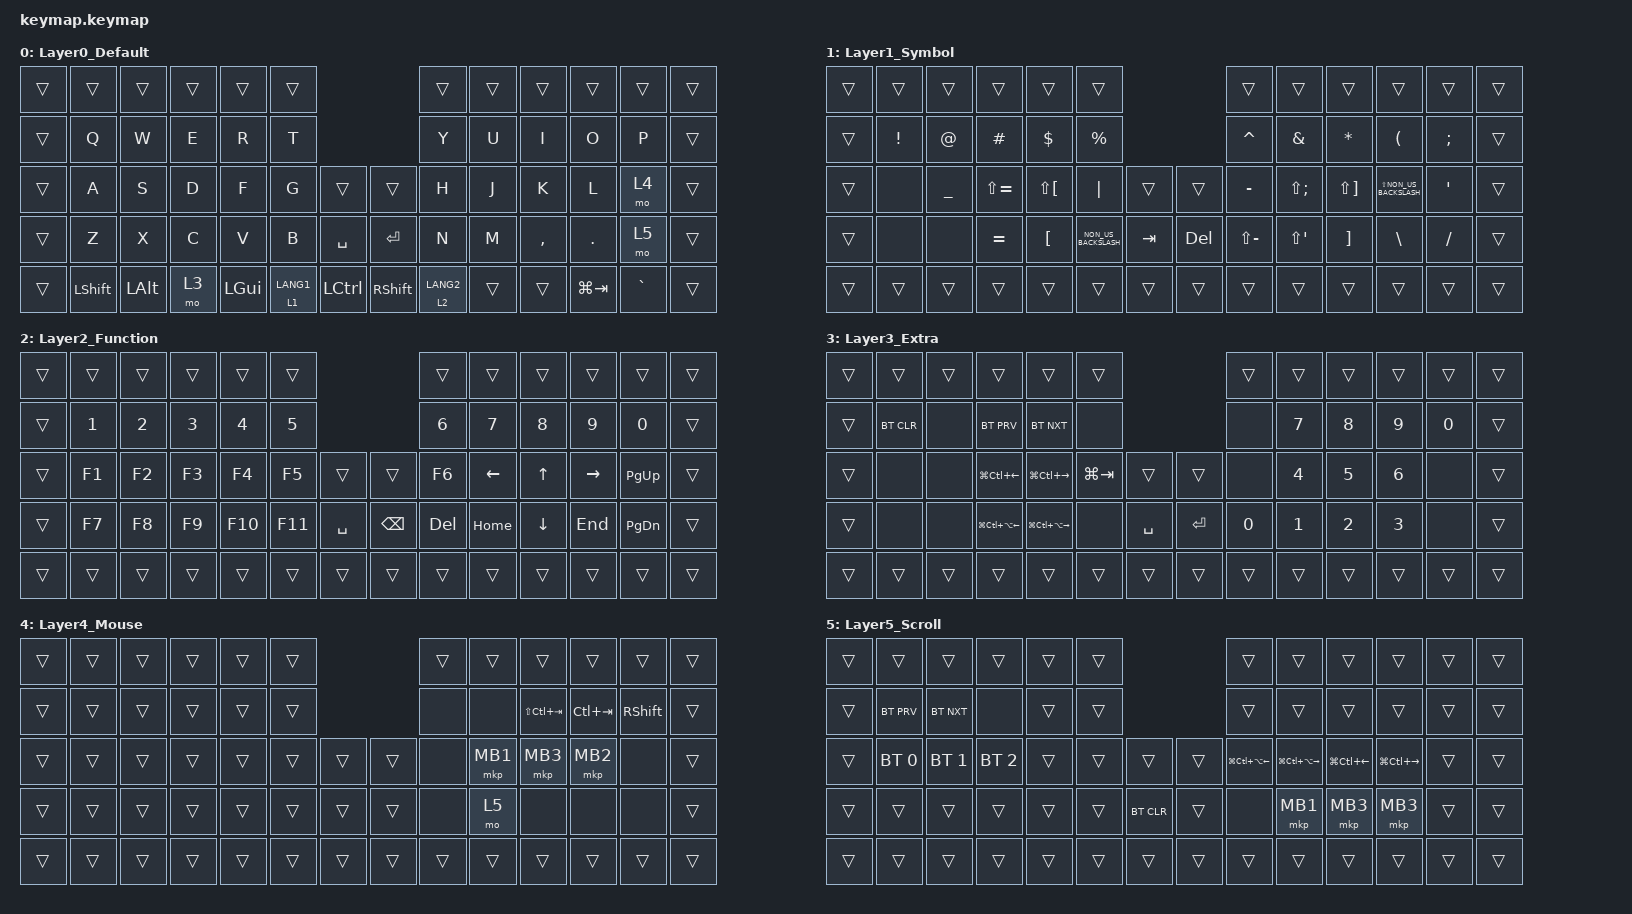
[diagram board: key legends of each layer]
#include <behaviors.dtsi>
#include <dt-bindings/zmk/bt.h>
#include <dt-bindings/zmk/keys.h>
#include <dt-bindings/zmk/pointing.h>

/ {
    combos {
        compatible = "zmk,combos";

        bt_clear {
            bindings = <&bt BT_CLR>;
            key-positions = <28 29>;
            layers = <2>;
        };
    };

    keymap {
        compatible = "zmk,keymap";

        Layer0_Default {
            bindings = <
&trans  &trans          &trans        &trans  &trans        &trans                              &trans       &trans  &trans     &trans       &trans     &trans
&trans  &kp Q           &kp W         &kp E   &kp R         &kp T                               &kp Y        &kp U   &kp I      &kp O        &kp P      &trans
&trans  &kp A           &kp S         &kp D   &kp F         &kp G        &trans     &trans      &kp H        &kp J   &kp K      &kp L        &mo 4      &trans
&trans  &kp Z           &kp X         &kp C   &kp V         &kp B        &kp SPACE  &kp RET     &kp N        &kp M   &kp COMMA  &kp DOT      &mo 5      &trans
&trans  &kp LEFT_SHIFT  &kp LEFT_ALT  &mo 3   &kp LEFT_GUI  &lt 1 LANG1  &kp LCTRL  &kp RSHIFT  &lt 2 LANG2  &trans  &trans     &kp LG(TAB)  &kp GRAVE  &trans
            >;
        };

        Layer1_Symbol {
            bindings = <
&trans  &trans           &trans          &trans         &trans                &trans                                     &trans         &trans             &trans                 &trans                    &trans            &trans
&trans  &kp EXCLAMATION  &kp AT          &kp HASH       &kp DOLLAR            &kp PERCENT                                &kp CARET      &kp AMPERSAND      &kp ASTERISK           &kp LEFT_PARENTHESIS      &kp SEMI          &trans
&trans  &none            &kp UNDERSCORE  &kp LS(EQUAL)  &kp LS(LEFT_BRACKET)  &kp PIPE              &trans   &trans      &kp MINUS      &kp LS(SEMICOLON)  &kp LS(RIGHT_BRACKET)  &kp LS(NON_US_BACKSLASH)  &kp SINGLE_QUOTE  &trans
&trans  &none            &none           &kp EQUAL      &kp LEFT_BRACKET      &kp NON_US_BACKSLASH  &kp TAB  &kp DELETE  &kp LS(MINUS)  &kp LS(SQT)        &kp RIGHT_BRACKET      &kp BSLH                  &kp SLASH         &trans
&trans  &trans           &trans          &trans         &trans                &trans                &trans   &trans      &trans         &trans             &trans                 &trans                    &trans            &trans
            >;
        };

        Layer2_Function {
            bindings = <
&trans  &trans        &trans        &trans        &trans        &trans                             &trans        &trans          &trans          &trans     &trans         &trans
&trans  &kp NUMBER_1  &kp NUMBER_2  &kp NUMBER_3  &kp NUMBER_4  &kp N5                             &kp NUMBER_6  &kp N7          &kp N8          &kp N9     &kp N0         &trans
&trans  &kp F1        &kp F2        &kp F3        &kp F4        &kp F5   &trans     &trans         &kp F6        &kp LEFT_ARROW  &kp UP_ARROW    &kp RIGHT  &kp PAGE_UP    &trans
&trans  &kp F7        &kp F8        &kp F9        &kp F10       &kp F11  &kp SPACE  &kp BACKSPACE  &kp DELETE    &kp HOME        &kp DOWN_ARROW  &kp END    &kp PAGE_DOWN  &trans
&trans  &trans        &trans        &trans        &trans        &trans   &trans     &trans         &trans        &trans          &trans          &trans     &trans         &trans
            >;
        };

        Layer3_Extra {
            bindings = <
&trans  &trans      &trans  &trans                &trans                 &trans                             &trans  &trans  &trans  &trans  &trans  &trans
&trans  &bt BT_CLR  &none   &bt BT_PRV            &bt BT_NXT             &none                              &none   &kp N7  &kp N8  &kp N9  &kp N0  &trans
&trans  &none       &none   &kp LG(LC(LEFT))      &kp LG(LC(RIGHT))      &kp LG(TAB)  &trans     &trans     &none   &kp N4  &kp N5  &kp N6  &none   &trans
&trans  &none       &none   &kp LG(LC(LA(LEFT)))  &kp LG(LC(LA(RIGHT)))  &none        &kp SPACE  &kp ENTER  &kp N0  &kp N1  &kp N2  &kp N3  &none   &trans
&trans  &trans      &trans  &trans                &trans                 &trans       &trans     &trans     &trans  &trans  &trans  &trans  &trans  &trans
            >;
        };

        Layer4_Mouse {
            bindings = <
&trans  &trans  &trans  &trans  &trans  &trans                  &trans  &trans    &trans           &trans       &trans           &trans
&trans  &trans  &trans  &trans  &trans  &trans                  &none   &none     &kp LS(LC(TAB))  &kp LC(TAB)  &kp RIGHT_SHIFT  &trans
&trans  &trans  &trans  &trans  &trans  &trans  &trans  &trans  &none   &mkp MB1  &mkp MB3         &mkp MB2     &none            &trans
&trans  &trans  &trans  &trans  &trans  &trans  &trans  &trans  &none   &mo 5     &none            &none        &none            &trans
&trans  &trans  &trans  &trans  &trans  &trans  &trans  &trans  &trans  &trans    &trans           &trans       &trans           &trans
            >;
        };

        Layer5_Scroll {
            bindings = <
&trans  &trans        &trans        &trans        &trans  &trans                      &trans                &trans                 &trans            &trans             &trans  &trans
&trans  &bt BT_PRV    &bt BT_NXT    &none         &trans  &trans                      &trans                &trans                 &trans            &trans             &trans  &trans
&trans  &bt BT_SEL 0  &bt BT_SEL 1  &bt BT_SEL 2  &trans  &trans  &trans      &trans  &kp LG(LC(LA(LEFT)))  &kp LG(LC(LA(RIGHT)))  &kp LG(LC(LEFT))  &kp LG(LC(RIGHT))  &trans  &trans
&trans  &trans        &trans        &trans        &trans  &trans  &bt BT_CLR  &trans  &none                 &mkp MB1               &mkp MB3          &mkp MB3           &trans  &trans
&trans  &trans        &trans        &trans        &trans  &trans  &trans      &trans  &trans                &trans                 &trans            &trans             &trans  &trans
            >;
        };
    };
};
